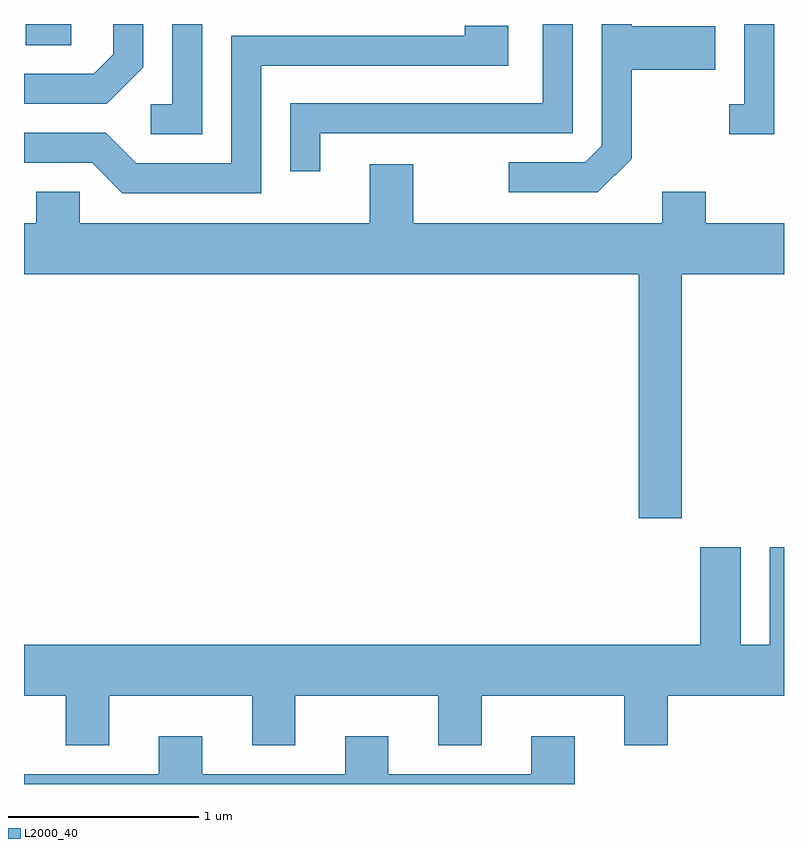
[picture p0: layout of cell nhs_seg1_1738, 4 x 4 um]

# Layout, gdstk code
import gdstk
lib = gdstk.Library(unit=1e-6, precision=1e-09)
def R(c, l, rs):  # rectangles x0, y0, x1, y1
    for r in rs: c.add(gdstk.rectangle(r[:2], r[2:], *l))
def P(c, l, *ps):  # polygons
    for p in ps: c.add(gdstk.Polygon(p, *l))
L2000_40 = (2000, 40)

nhs_seg1_1738 = lib.new_cell('nhs_seg1_1738')
R(nhs_seg1_1738, L2000_40, [(237.621,969.601,237.859,969.712)])
P(nhs_seg1_1738, L2000_40, [(239.169,969.136),(240.499,969.136),(240.499,969.712),(240.341,969.712),(240.341,969.294),(239.011,969.294),(239.011,968.938),(239.169,968.938)],
  [(238.239,969.484),(238.239,969.712),(238.081,969.712),(238.081,969.552),(237.979,969.449),(237.611,969.449),(237.611,969.291),(238.047,969.291)],
  [(241.559,969.712),(241.401,969.712),(241.401,969.289),(241.323,969.289),(241.323,969.131),(241.559,969.131)],
  [(240.809,969.004),(240.809,969.471),(241.249,969.471),(241.249,969.699),(240.809,969.699),(240.809,969.712),(240.651,969.712),(240.651,969.072),(240.564,968.984),(240.163,968.984),(240.163,968.826),(240.632,968.826)],
  [(238.549,969.712),(238.391,969.712),(238.391,969.289),(238.278,969.289),(238.278,969.131),(238.549,969.131)],
  [(238.859,969.491),(240.159,969.491),(240.159,969.704),(239.931,969.704),(239.931,969.649),(238.701,969.649),(238.701,968.979),(238.202,968.979),(238.042,969.139),(237.611,969.139),(237.611,968.981),(237.969,968.981),(238.129,968.821),(238.859,968.821)],
  [(240.846,967.111),(241.074,967.111),(241.074,968.396),(241.611,968.396),(241.611,968.664),(241.199,968.664),(241.199,968.829),(240.971,968.829),(240.971,968.664),(239.659,968.664),(239.659,968.974),(239.431,968.974),(239.431,968.664),(237.904,968.664),(237.904,968.829),(237.676,968.829),(237.676,968.664),(237.611,968.664),(237.611,968.396),(240.846,968.396)],
  [(238.059,966.176),(238.811,966.176),(238.811,965.916),(239.039,965.916),(239.039,966.176),(239.791,966.176),(239.791,965.916),(240.019,965.916),(240.019,966.176),(240.771,966.176),(240.771,965.916),(240.999,965.916),(240.999,966.176),(241.611,966.176),(241.611,966.959),(241.536,966.959),(241.536,966.444),(241.384,966.444),(241.384,966.959),(241.171,966.959),(241.171,966.444),(237.611,966.444),(237.611,966.176),(237.831,966.176),(237.831,965.916),(238.059,965.916)],
  [(240.509,965.964),(240.281,965.964),(240.281,965.764),(239.529,965.764),(239.529,965.964),(239.301,965.964),(239.301,965.764),(238.549,965.764),(238.549,965.964),(238.321,965.964),(238.321,965.764),(237.611,965.764),(237.611,965.712),(240.509,965.712)])

lib.write_gds('nhs_seg1_1738.gds')
